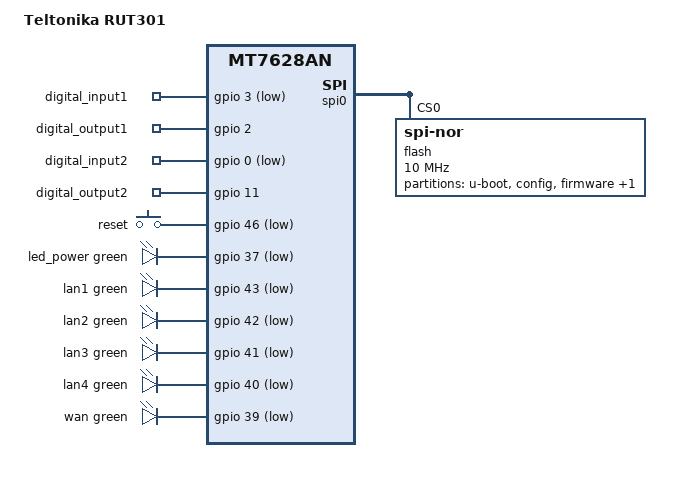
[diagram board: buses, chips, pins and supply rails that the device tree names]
// SPDX-License-Identifier: GPL-2.0-or-later OR MIT

#include <dt-bindings/input/input.h>
#include <dt-bindings/gpio/gpio.h>
#include <dt-bindings/leds/common.h>
#include "mt7628an.dtsi"

/ {
	compatible = "teltonika,rut301", "mediatek,mt7628an-soc";
	model = "Teltonika RUT301";

	chosen {
		bootargs = "console=ttyS0,115200";
	};

	aliases {
		led-boot = &led_power;
		led-failsafe = &led_power;
		led-upgrade = &led_power;
	};

	gpio-export {
		compatible = "gpio-export";

		gpio_din1 {
			gpio-export,name = "digital_input1";
			gpio-export,input = <0>;
			gpios = <&gpio 3 GPIO_ACTIVE_LOW>;
		};

		gpio_dout1 {
			gpio-export,name = "digital_output1";
			gpio-export,output = <0>;
			gpios = <&gpio 2 GPIO_ACTIVE_HIGH>;
		};

		gpio_din2 {
			gpio-export,name = "digital_input2";
			gpio-export,input = <0>;
			gpios = <&gpio 0 GPIO_ACTIVE_LOW>;
		};

		gpio_dout2 {
			gpio-export,name = "digital_output2";
			gpio-export,output = <0>;
			gpios = <&gpio 11 GPIO_ACTIVE_HIGH>;
		};
	};

	keys {
		compatible = "gpio-keys";

		reset {
			label = "reset";
			gpios = <&gpio 46 GPIO_ACTIVE_LOW>;
			linux,code = <KEY_RESTART>;
		};
	};

	leds {
		compatible = "gpio-leds";

		led_power: power {
			gpios = <&gpio 37 GPIO_ACTIVE_LOW>;
			function = LED_FUNCTION_POWER;
			color = <LED_COLOR_ID_GREEN>;
		};

		lan1 {
			function = LED_FUNCTION_LAN;
			color = <LED_COLOR_ID_GREEN>;
			function-enumerator = <1>;
			gpios = <&gpio 43 GPIO_ACTIVE_LOW>;
		};

		lan2 {
			function = LED_FUNCTION_LAN;
			color = <LED_COLOR_ID_GREEN>;
			function-enumerator = <2>;
			gpios = <&gpio 42 GPIO_ACTIVE_LOW>;
		};

		lan3 {
			function = LED_FUNCTION_LAN;
			color = <LED_COLOR_ID_GREEN>;
			function-enumerator = <3>;
			gpios = <&gpio 41 GPIO_ACTIVE_LOW>;
		};

		lan4 {
			function = LED_FUNCTION_LAN;
			color = <LED_COLOR_ID_GREEN>;
			function-enumerator = <4>;
			gpios = <&gpio 40 GPIO_ACTIVE_LOW>;
		};

		wan {
			function = LED_FUNCTION_WAN;
			color = <LED_COLOR_ID_GREEN>;
			gpios = <&gpio 39 GPIO_ACTIVE_LOW>;
		};
	};
};

&spi0 {
	status = "okay";

	flash@0 {
		compatible = "jedec,spi-nor";
		reg = <0>;
		spi-max-frequency = <10000000>;

		partitions {
			compatible = "fixed-partitions";
			#address-cells = <1>;
			#size-cells = <1>;

			partition@0 {
				label = "u-boot";
				reg = <0x0 0x20000>;
				read-only;
			};

			partition@20000 {
				label = "config";
				reg = <0x020000 0x010000>;
				read-only;

				nvmem-layout {
					compatible = "fixed-layout";
					#address-cells = <1>;
					#size-cells = <1>;

					macaddr_config_0: macaddr@0 {
						reg = <0x0 0x6>;
						compatible = "mac-base";
						#nvmem-cell-cells = <1>;
					};
				};
			};

			partition@30000 {
				compatible = "denx,uimage";
				label = "firmware";
				reg = <0x030000 0xf40000>;
			};

			partition@f70000 {
				label = "event-log";
				reg = <0xf70000 0x90000>;
				read-only;
			};
		};
	};
};

&state_default {
	gpio {
		groups = "i2s", "uart1", "p4led_an", "p3led_an", "p2led_an", "p1led_an", "p0led_an", "gpio", "wled_an", "perst", "spi cs1", "refclk";
		function = "gpio";
	};
};

&ethernet {
	nvmem-cells = <&macaddr_config_0 0>;
	nvmem-cell-names = "mac-address";
};

&esw {
	mediatek,portmap = <0x2f>;
};

